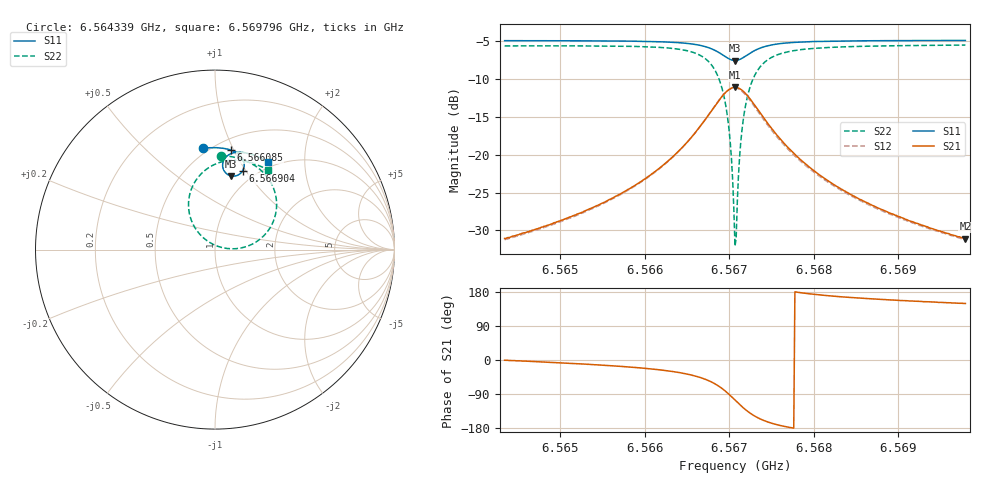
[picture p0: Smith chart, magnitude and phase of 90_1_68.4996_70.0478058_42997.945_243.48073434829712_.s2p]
#  HZ  S  RI  R  50.00
! Rohde & Schwarz Vector Network Analyzer
! Rohde-Schwarz,ZNB20-2Port,1311601062101988,3.16
! Created: UTC 3/20/2024, 5:07:45 PM
! freq[Hz]  re:S11  im:S11  re:S21  im:S21  re:S12  im:S12  re:S22  im:S22
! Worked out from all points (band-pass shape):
!   401 points, 6.564339 GHz to 6.569796 GHz, reference 50 ohm
!   highest |S21| = -11.07 dB at 6.567068 GHz (marker M1); lowest = -31.1 dB at 6.569796 GHz (marker M2)
!   |S21| within 3 dB of the highest: 6.566796 GHz to 6.567341 GHz (545.7 kHz wide, 0.00831 % of centre)
!   lowest |S11| = -7.5 dB at 6.567068 GHz (marker M3), VSWR 2.45, Z = 41.3 + j41.2 ohm
!   |S11| at or under -10 dB: nowhere
!   |S22| runs from -32.1 to -5.5 dB; largest |S21 - S12| = 0.013
!   S11 on the Smith chart (normalised r, x): 6.564339 GHz: 0.47, +0.78; 6.566085 GHz: 0.60, +0.97; 6.566904 GHz: 0.86, +0.97; 6.569796 GHz: 0.92, +1.33
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6.564339e9  -0.0643 0.5654  0.0279 -0.000315  0.0274 -0.000734  0.0355 0.5241
6.5652531e9  0.0106 0.5678  0.0409 -0.00752  0.0403 -0.00812  0.1217 0.5111
6.5660853e9  0.0878 0.5547  0.0686 -0.0304  0.0674 -0.0309  0.2288 0.4634
6.5661671e9  0.0965 0.5516  0.0729 -0.0352  0.072 -0.0361  0.2426 0.4531
6.5664673e9  0.1309 0.5323  0.0939 -0.0675  0.0925 -0.0688  0.3014 0.3896
6.5666855e9  0.1561 0.5012  0.1078 -0.1214  0.1052 -0.1237  0.3409 0.2855
6.5668083e9  0.1628 0.4701  0.1006 -0.1757  0.0962 -0.179  0.3336 0.182
6.5669038e9  0.154 0.439  0.068 -0.2295  0.0606 -0.2324  0.2758 0.0811
6.5669857e9  0.1287 0.4154  0.0077 -0.2673  -0.00289 -0.2675  0.1655 0.014
6.567013e9  0.1165 0.4111  -0.0185 -0.2732  -0.0301 -0.2717  0.1176 0.00515
6.5670539e9  0.0966 0.4096  -0.0609 -0.2724  -0.0727 -0.2677  0.042 0.0106
6.5670675e9  0.0899 0.4106  -0.0752 -0.2691  -0.0865 -0.2634  0.0174 0.0177
6.5670812e9  0.0832 0.4124  -0.0889 -0.2647  -0.0998 -0.2579  -0.00632 0.0273
6.5670948e9  0.077 0.415  -0.1021 -0.259  -0.1123 -0.2511  -0.0285 0.0393
6.5671221e9  0.0656 0.4219  -0.1258 -0.2436  -0.1349 -0.2344  -0.0684 0.0688
6.567163e9  0.0525 0.436  -0.1538 -0.2147  -0.1602 -0.204  -0.1126 0.1233
6.5672176e9  0.0436 0.4576  -0.1751 -0.1717  -0.1781 -0.1607  -0.1429 0.2012
6.5672858e9  0.0438 0.4828  -0.1813 -0.1224  -0.181 -0.1127  -0.1446 0.2875
6.5675314e9  0.0811 0.5308  -0.1394 -0.0276  -0.1364 -0.0234  -0.0488 0.4469
6.5679816e9  0.1441 0.5423  -0.0797 0.00855  -0.0777 0.00982  0.087 0.4971
6.5688956e9  0.2289 0.5212  -0.0385 0.015  -0.0377 0.0153  0.217 0.4792
6.569796e9  0.2953 0.4886  -0.0239 0.0143  -0.0235 0.0144  0.2954 0.4427
